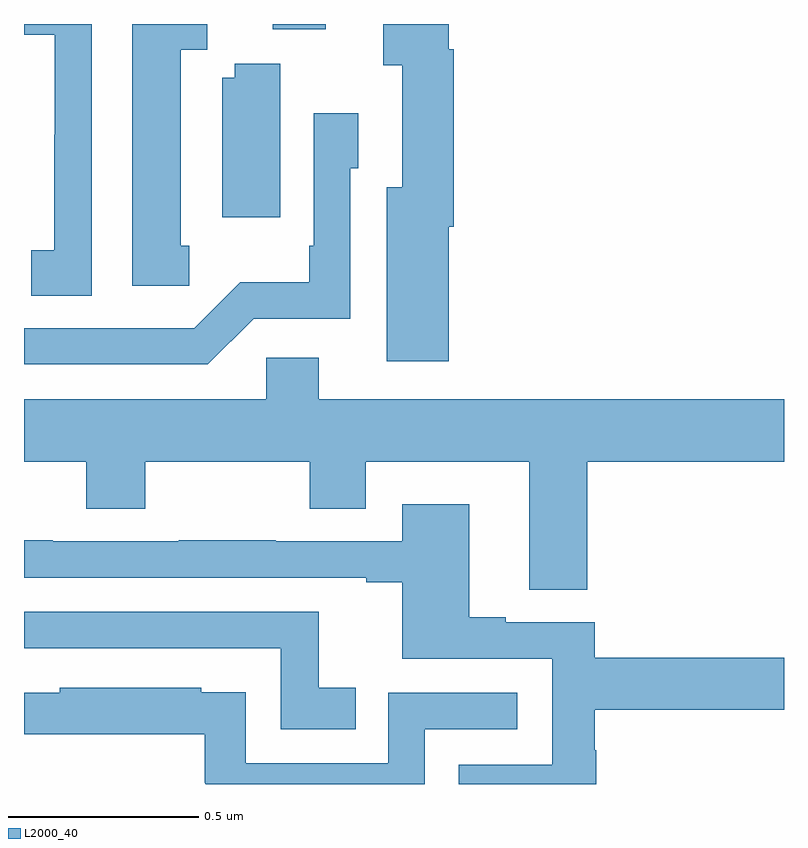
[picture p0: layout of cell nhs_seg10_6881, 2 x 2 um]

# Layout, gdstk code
import gdstk
lib = gdstk.Library(unit=1e-6, precision=1e-09)
def R(c, l, rs):  # rectangles x0, y0, x1, y1
    for r in rs: c.add(gdstk.rectangle(r[:2], r[2:], *l))
def P(c, l, *ps):  # polygons
    for p in ps: c.add(gdstk.Polygon(p, *l))
L2000_40 = (2000, 40)

nhs_seg10_6881 = lib.new_cell('nhs_seg10_6881')
R(nhs_seg10_6881, L2000_40, [(197.654,1269.486,197.794,1269.5)])
P(nhs_seg10_6881, L2000_40, [(198.118,1268.966),(198.131,1268.966),(198.131,1269.434),(198.118,1269.434),(198.118,1269.5),(197.946,1269.5),(197.946,1269.391),(197.996,1269.391),(197.996,1269.07),(197.954,1269.07),(197.954,1268.613),(198.118,1268.613)],
  [(197.435,1268.916),(197.413,1268.916),(197.413,1269.432),(197.482,1269.432),(197.482,1269.5),(197.285,1269.5),(197.285,1268.811),(197.435,1268.811)],
  [(197.178,1269.5),(197,1269.5),(197,1269.472),(197.081,1269.472),(197.081,1269.209),(197.08,1269.209),(197.08,1268.905),(197.019,1268.905),(197.019,1268.785),(197.178,1268.785)],
  [(197.674,1269.395),(197.554,1269.395),(197.554,1269.358),(197.522,1269.358),(197.522,1268.991),(197.674,1268.991)],
  [(197.604,1268.724),(197.859,1268.724),(197.859,1269.12),(197.88,1269.12),(197.88,1269.265),(197.763,1269.265),(197.763,1268.917),(197.751,1268.917),(197.751,1268.821),(197.569,1268.821),(197.448,1268.7),(197,1268.7),(197,1268.604),(197.484,1268.604)],
  [(198.482,1268.348),(199,1268.348),(199,1268.512),(197.776,1268.512),(197.776,1268.622),(197.637,1268.622),(197.637,1268.512),(197,1268.512),(197,1268.348),(197.164,1268.348),(197.164,1268.224),(197.319,1268.224),(197.319,1268.348),(197.752,1268.348),(197.752,1268.224),(197.899,1268.224),(197.899,1268.348),(198.329,1268.348),(198.329,1268.011),(198.482,1268.011)],
  [(198.506,1267.589),(198.502,1267.589),(198.502,1267.696),(199,1267.696),(199,1267.832),(198.502,1267.832),(198.502,1267.926),(198.268,1267.926),(198.268,1267.939),(198.172,1267.939),(198.172,1268.236),(197.996,1268.236),(197.996,1268.139),(197.663,1268.139),(197.663,1268.141),(197.407,1268.141),(197.407,1268.139),(197.075,1268.139),(197.075,1268.141),(197,1268.141),(197,1268.043),(197.9,1268.043),(197.9,1268.031),(197.996,1268.031),(197.996,1267.83),(198.39,1267.83),(198.39,1267.551),(198.144,1267.551),(198.144,1267.5),(198.506,1267.5)],
  [(197.873,1267.753),(197.775,1267.753),(197.775,1267.953),(197,1267.953),(197,1267.857),(197.676,1267.857),(197.676,1267.644),(197.873,1267.644)],
  [(198.054,1267.644),(198.298,1267.644),(198.298,1267.74),(197.958,1267.74),(197.958,1267.554),(197.583,1267.554),(197.583,1267.741),(197.466,1267.741),(197.466,1267.753),(197.094,1267.753),(197.094,1267.74),(197,1267.74),(197,1267.631),(197.475,1267.631),(197.475,1267.503),(197.478,1267.5),(198.054,1267.5)])

lib.write_gds('nhs_seg10_6881.gds')
